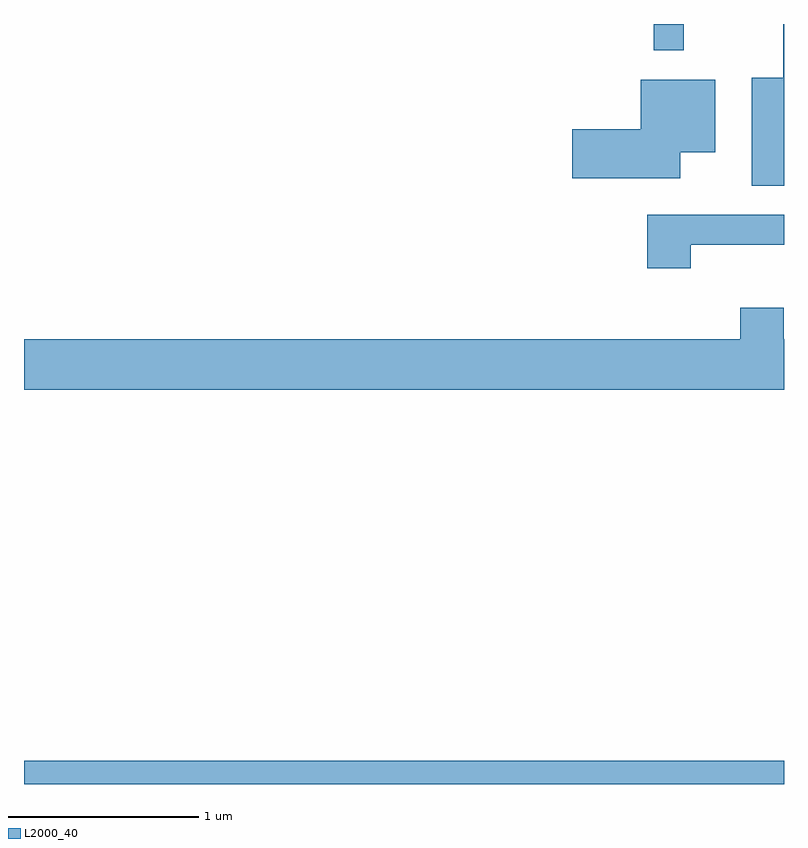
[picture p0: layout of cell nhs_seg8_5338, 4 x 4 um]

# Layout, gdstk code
import gdstk
lib = gdstk.Library(unit=1e-6, precision=1e-09)
def R(c, l, rs):  # rectangles x0, y0, x1, y1
    for r in rs: c.add(gdstk.rectangle(r[:2], r[2:], *l))
def P(c, l, *ps):  # polygons
    for p in ps: c.add(gdstk.Polygon(p, *l))
L2000_40 = (2000, 40)

nhs_seg8_5338 = lib.new_cell('nhs_seg8_5338')
R(nhs_seg8_5338, L2000_40, [(345.611,1834.342,349.611,1834.464), (348.926,1838.203,349.084,1838.342)])
P(nhs_seg8_5338, L2000_40, [(349.611,1838.342),(349.606,1838.342),(349.606,1838.059),(349.441,1838.059),(349.441,1837.491),(349.611,1837.491)],
  [(349.064,1837.666),(349.249,1837.666),(349.249,1838.049),(348.856,1838.049),(348.856,1837.789),(348.496,1837.789),(348.496,1837.531),(349.064,1837.531)],
  [(349.119,1837.181),(349.611,1837.181),(349.611,1837.339),(348.891,1837.339),(348.891,1837.056),(349.119,1837.056)],
  [(349.611,1836.684),(349.609,1836.684),(349.609,1836.849),(349.381,1836.849),(349.381,1836.684),(345.611,1836.684),(345.611,1836.416),(349.611,1836.416)])

lib.write_gds('nhs_seg8_5338.gds')
